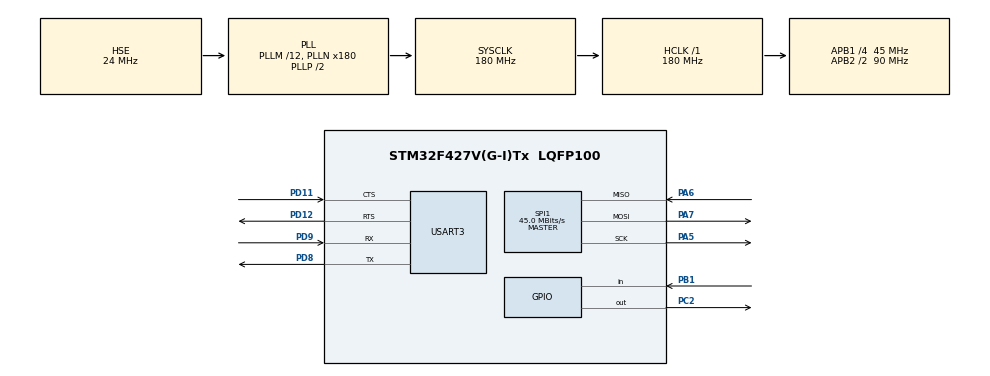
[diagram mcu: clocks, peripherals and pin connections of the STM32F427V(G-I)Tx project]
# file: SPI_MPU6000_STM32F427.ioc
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Mcu.Family=STM32F4
Mcu.Name=STM32F427V(G-I)Tx
Mcu.Package=LQFP100
NVIC.PriorityGroup=NVIC_PRIORITYGROUP_4
NVIC.USART3_IRQn=true\:0\:0\:false\:false\:true\:true\:true
PA13.Mode=Serial_Wire
PA13.Signal=SYS_JTMS-SWDIO
PA14.Mode=Serial_Wire
PA14.Signal=SYS_JTCK-SWCLK
PA5.Mode=Full_Duplex_Master
PA5.Signal=SPI1_SCK
PA6.Mode=Full_Duplex_Master
PA6.Signal=SPI1_MISO
PA7.Mode=Full_Duplex_Master
PA7.Signal=SPI1_MOSI
PB1.Signal=GPIO_Input
PC2.GPIO_Speed=GPIO_SPEED_FREQ_HIGH
PC2.Signal=GPIO_Output
PD11.Mode=CTS_RTS
PD11.Signal=USART3_CTS
PD12.Mode=CTS_RTS
PD12.Signal=USART3_RTS
PD8.Mode=Asynchronous
PD8.Signal=USART3_TX
PD9.Mode=Asynchronous
PD9.Signal=USART3_RX
PH0/OSC_IN.Mode=HSE-External-Oscillator
PH0/OSC_IN.Signal=RCC_OSC_IN
PH1/OSC_OUT.Mode=HSE-External-Oscillator
PH1/OSC_OUT.Signal=RCC_OSC_OUT
ProjectManager.HeapSize=0x200
ProjectManager.StackSize=0x400
ProjectManager.TargetToolchain=STM32CubeIDE
RCC.48MHZClocksFreq_Value=90000000
RCC.AHBFreq_Value=180000000
RCC.APB1CLKDivider=RCC_HCLK_DIV4
RCC.APB1Freq_Value=45000000
RCC.APB1TimFreq_Value=90000000
RCC.APB2CLKDivider=RCC_HCLK_DIV2
RCC.APB2Freq_Value=90000000
RCC.APB2TimFreq_Value=180000000
RCC.CortexFreq_Value=180000000
RCC.HCLKFreq_Value=180000000
RCC.HSE_VALUE=24000000
RCC.HSI_VALUE=16000000
RCC.LSE_VALUE=32768
RCC.PLLM=12
RCC.PLLN=180
RCC.PLLSourceVirtual=RCC_PLLSOURCE_HSE
RCC.SYSCLKFreq_VALUE=180000000
RCC.SYSCLKSource=RCC_SYSCLKSOURCE_PLLCLK
RCC.VCOOutputFreq_Value=360000000
SPI1.CalculateBaudRate=45.0 MBits/s
SPI1.Direction=SPI_DIRECTION_2LINES
SPI1.Mode=SPI_MODE_MASTER
SPI1.VirtualType=VM_MASTER
TIM2.Period=1
TIM2.Prescaler=89
USART3.VirtualMode=VM_ASYNC
VP_TIM2_VS_ClockSourceINT.Mode=Internal
board=custom

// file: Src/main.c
/* USER CODE BEGIN Header */
/**
  ******************************************************************************
  * @file           : main.c
  * @brief          : Main program body
  ******************************************************************************
  * @attention
  *
  * <h2><center>&copy; Copyright (c) 2020 STMicroelectronics.
  * All rights reserved.</center></h2>
  *
  * This software component is licensed by ST under BSD 3-Clause license,
  * the "License"; You may not use this file except in compliance with the
  * License. You may obtain a copy of the License at:
  *                        opensource.org/licenses/BSD-3-Clause
  *
  ******************************************************************************
  */
/* USER CODE END Header */

#include "main.h"

/* USER CODE BEGIN Includes */
//#include "stdio.h"
#include "spi.h"
#include "MPU6000.h"
/* USER CODE END Includes */

/* USER CODE BEGIN PTD */
#ifdef __GNUC__
/* With GCC, small printf (option LD Linker->Libraries->Small printf
   set to 'Yes') calls __io_putchar() */
#define PUTCHAR_PROTOTYPE int __io_putchar(int ch)
#else
#define PUTCHAR_PROTOTYPE int fputc(int ch, FILE *f)
#endif /* __GNUC__ */
/* USER CODE END PTD */

UART_HandleTypeDef huart3;

void SystemClock_Config(void);
static void MX_GPIO_Init(void);
static void MX_USART3_UART_Init(void);

/* USER CODE BEGIN 0 */
PUTCHAR_PROTOTYPE
{
    HAL_UART_Transmit(&huart3 , (uint8_t *)&ch, 1, 0xFFFF);
    return ch;
}
/* USER CODE END 0 */

int main(void)
{

  /* MCU Configuration--------------------------------------------------------*/

  /* Reset of all peripherals, Initializes the Flash interface and the Systick. */
  HAL_Init();

  /* Configure the system clock */
  SystemClock_Config();

  /* Initialize all configured peripherals */
  MX_GPIO_Init();
  MX_SPI1_Init();
  MX_USART3_UART_Init();
  MX_TIM2_Init();
  MPU6000_Init();

  /* Infinite loop */
  /* USER CODE BEGIN WHILE */
  while (1)
  {
	//每一秒，输出一次温度的数据
    /* USER CODE END WHILE */

    /* USER CODE BEGIN 3 */
	  float temp=1.5;
	  //HAL_Delay(1000);
	  MPU6000_ReadTemp(&temp);
	  uint8_t pData[4]="";
	  sprintf(pData,"%.1f",temp);
	  HAL_UART_Transmit(&huart3,(uint8_t*)pData,sizeof(pData),100);//不断通过串口3发送，pData中的数据，sizeof计算pData中的字节数
	  //printf("Enter while(1) section :%f",temp);
	  HAL_Delay(1000);

  }
  /* USER CODE END 3 */
}

void SystemClock_Config(void)
{
  RCC_OscInitTypeDef RCC_OscInitStruct = {0};
  RCC_ClkInitTypeDef RCC_ClkInitStruct = {0};

  /** Configure the main internal regulator output voltage
  */
  __HAL_RCC_PWR_CLK_ENABLE();
  __HAL_PWR_VOLTAGESCALING_CONFIG(PWR_REGULATOR_VOLTAGE_SCALE1);
  /** Initializes the CPU, AHB and APB busses clocks
  */
  RCC_OscInitStruct.OscillatorType = RCC_OSCILLATORTYPE_HSE;
  RCC_OscInitStruct.HSEState = RCC_HSE_ON;
  RCC_OscInitStruct.PLL.PLLState = RCC_PLL_ON;
  RCC_OscInitStruct.PLL.PLLSource = RCC_PLLSOURCE_HSE;
  RCC_OscInitStruct.PLL.PLLM = 12;
  RCC_OscInitStruct.PLL.PLLN = 180;
  RCC_OscInitStruct.PLL.PLLP = RCC_PLLP_DIV2;
  RCC_OscInitStruct.PLL.PLLQ = 4;
  if (HAL_RCC_OscConfig(&RCC_OscInitStruct) != HAL_OK)
  {
    Error_Handler();
  }
  /** Activate the Over-Drive mode
  */
  if (HAL_PWREx_EnableOverDrive() != HAL_OK)
  {
    Error_Handler();
  }
  /** Initializes the CPU, AHB and APB busses clocks
  */
  RCC_ClkInitStruct.ClockType = RCC_CLOCKTYPE_HCLK|RCC_CLOCKTYPE_SYSCLK
                              |RCC_CLOCKTYPE_PCLK1|RCC_CLOCKTYPE_PCLK2;
  RCC_ClkInitStruct.SYSCLKSource = RCC_SYSCLKSOURCE_PLLCLK;
  RCC_ClkInitStruct.AHBCLKDivider = RCC_SYSCLK_DIV1;
  RCC_ClkInitStruct.APB1CLKDivider = RCC_HCLK_DIV4;
  RCC_ClkInitStruct.APB2CLKDivider = RCC_HCLK_DIV2;

  if (HAL_RCC_ClockConfig(&RCC_ClkInitStruct, FLASH_LATENCY_5) != HAL_OK)
  {
    Error_Handler();
  }
}

static void MX_USART3_UART_Init(void)
{

  huart3.Instance = USART3;
  huart3.Init.BaudRate = 115200;
  huart3.Init.WordLength = UART_WORDLENGTH_8B;
  huart3.Init.StopBits = UART_STOPBITS_1;
  huart3.Init.Parity = UART_PARITY_NONE;
  huart3.Init.Mode = UART_MODE_TX_RX;
  huart3.Init.HwFlowCtl = UART_HWCONTROL_RTS_CTS;
  huart3.Init.OverSampling = UART_OVERSAMPLING_16;
  if (HAL_UART_Init(&huart3) != HAL_OK)
  {
    Error_Handler();
  }

}

static void MX_GPIO_Init(void)
{
  GPIO_InitTypeDef GPIO_InitStruct = {0};

  /* GPIO Ports Clock Enable */
  __HAL_RCC_GPIOH_CLK_ENABLE();
  __HAL_RCC_GPIOC_CLK_ENABLE();
  __HAL_RCC_GPIOA_CLK_ENABLE();
  __HAL_RCC_GPIOB_CLK_ENABLE();
  __HAL_RCC_GPIOD_CLK_ENABLE();

  /*Configure GPIO pin Output Level */
  HAL_GPIO_WritePin(GPIOC, GPIO_PIN_2, GPIO_PIN_RESET);

  /*Configure GPIO pin : PC2 */
  GPIO_InitStruct.Pin = GPIO_PIN_2;
  GPIO_InitStruct.Mode = GPIO_MODE_OUTPUT_PP;
  GPIO_InitStruct.Pull = GPIO_NOPULL;
  GPIO_InitStruct.Speed = GPIO_SPEED_FREQ_HIGH;
  HAL_GPIO_Init(GPIOC, &GPIO_InitStruct);

  /*Configure GPIO pin : PB1 */
  GPIO_InitStruct.Pin = GPIO_PIN_1;
  GPIO_InitStruct.Mode = GPIO_MODE_INPUT;
  GPIO_InitStruct.Pull = GPIO_NOPULL;
  HAL_GPIO_Init(GPIOB, &GPIO_InitStruct);

}
void Error_Handler(void)
{
}

/************************ (C) COPYRIGHT STMicroelectronics *****END OF FILE****/
